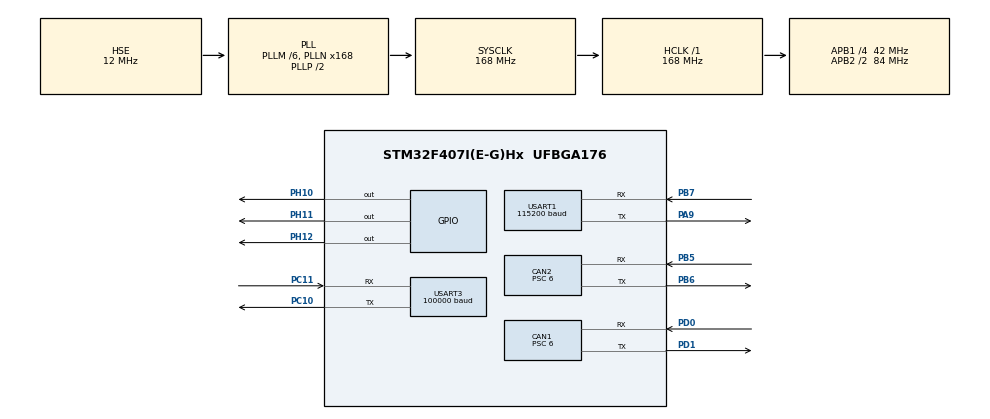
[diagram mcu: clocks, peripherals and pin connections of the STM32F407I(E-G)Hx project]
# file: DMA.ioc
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CAN1.ABOM=ENABLE
CAN1.BS1=CAN_BS1_3TQ
CAN1.BS2=CAN_BS2_3TQ
CAN1.CalculateBaudRate=1000000
CAN1.CalculateTimeBit=1000
CAN1.CalculateTimeQuantum=142.85714285714286
CAN1.Prescaler=6
CAN1.RFLM=ENABLE
CAN1.TXFP=DISABLE
CAN2.ABOM=ENABLE
CAN2.BS1=CAN_BS1_3TQ
CAN2.BS2=CAN_BS2_3TQ
CAN2.CalculateBaudRate=1000000
CAN2.CalculateTimeBit=1000
CAN2.CalculateTimeQuantum=142.85714285714286
CAN2.Prescaler=6
CAN2.RFLM=ENABLE
CAN2.TXFP=DISABLE
Dma.Request0=USART3_RX
Dma.Request1=USART1_RX
Dma.USART1_RX.1.Direction=DMA_PERIPH_TO_MEMORY
Dma.USART1_RX.1.FIFOMode=DMA_FIFOMODE_DISABLE
Dma.USART1_RX.1.Instance=DMA2_Stream2
Dma.USART1_RX.1.MemDataAlignment=DMA_MDATAALIGN_BYTE
Dma.USART1_RX.1.MemInc=DMA_MINC_ENABLE
Dma.USART1_RX.1.Mode=DMA_CIRCULAR
Dma.USART1_RX.1.PeriphDataAlignment=DMA_PDATAALIGN_BYTE
Dma.USART1_RX.1.PeriphInc=DMA_PINC_DISABLE
Dma.USART1_RX.1.Priority=DMA_PRIORITY_VERY_HIGH
Dma.USART3_RX.0.Direction=DMA_PERIPH_TO_MEMORY
Dma.USART3_RX.0.FIFOMode=DMA_FIFOMODE_DISABLE
Dma.USART3_RX.0.Instance=DMA1_Stream1
Dma.USART3_RX.0.MemDataAlignment=DMA_MDATAALIGN_BYTE
Dma.USART3_RX.0.MemInc=DMA_MINC_ENABLE
Dma.USART3_RX.0.Mode=DMA_CIRCULAR
Dma.USART3_RX.0.PeriphDataAlignment=DMA_PDATAALIGN_BYTE
Dma.USART3_RX.0.PeriphInc=DMA_PINC_DISABLE
Dma.USART3_RX.0.Priority=DMA_PRIORITY_HIGH
FREERTOS.Tasks01=LEDTask,24,128,StartDefaultTask,Default,NULL,Dynamic,NULL,NULL
Mcu.Family=STM32F4
Mcu.Name=STM32F407I(E-G)Hx
Mcu.Package=UFBGA176
NVIC.CAN1_RX0_IRQn=true\:5\:0\:false\:false\:true\:true\:true\:true\:true
NVIC.CAN2_RX0_IRQn=true\:5\:0\:false\:false\:true\:true\:true\:true\:true
NVIC.DMA1_Stream1_IRQn=true\:5\:0\:false\:false\:true\:true\:false\:true\:true
NVIC.DMA2_Stream2_IRQn=true\:5\:0\:false\:false\:true\:true\:false\:true\:true
NVIC.PriorityGroup=NVIC_PRIORITYGROUP_4
NVIC.TIM5_IRQn=true\:15\:0\:false\:false\:true\:false\:false\:true\:true
NVIC.TimeBase=TIM5_IRQn
NVIC.TimeBaseIP=TIM5
NVIC.USART1_IRQn=true\:5\:0\:false\:false\:true\:true\:true\:true\:true
NVIC.USART3_IRQn=true\:5\:0\:false\:false\:true\:true\:true\:true\:true
PA13.Mode=Serial_Wire
PA13.Signal=SYS_JTMS-SWDIO
PA14.Mode=Serial_Wire
PA14.Signal=SYS_JTCK-SWCLK
PA9.Mode=Asynchronous
PA9.Signal=USART1_TX
PB5.Mode=CAN_Activate
PB5.Signal=CAN2_RX
PB6.Mode=CAN_Activate
PB6.Signal=CAN2_TX
PB7.Mode=Asynchronous
PB7.Signal=USART1_RX
PC10.Mode=Asynchronous
PC10.Signal=USART3_TX
PC11.Mode=Asynchronous
PC11.Signal=USART3_RX
PD0.Mode=CAN_Activate
PD0.Signal=CAN1_RX
PD1.Mode=CAN_Activate
PD1.Signal=CAN1_TX
PH0-OSC_IN.Mode=HSE-External-Oscillator
PH0-OSC_IN.Signal=RCC_OSC_IN
PH1-OSC_OUT.Mode=HSE-External-Oscillator
PH1-OSC_OUT.Signal=RCC_OSC_OUT
PH10.Signal=GPIO_Output
PH11.Signal=GPIO_Output
PH12.Signal=GPIO_Output
ProjectManager.HeapSize=0x200
ProjectManager.StackSize=0x400
ProjectManager.TargetToolchain=MDK-ARM V5
RCC.48MHZClocksFreq_Value=84000000
RCC.AHBFreq_Value=168000000
RCC.APB1CLKDivider=RCC_HCLK_DIV4
RCC.APB1Freq_Value=42000000
RCC.APB1TimFreq_Value=84000000
RCC.APB2CLKDivider=RCC_HCLK_DIV2
RCC.APB2Freq_Value=84000000
RCC.APB2TimFreq_Value=168000000
RCC.CortexFreq_Value=168000000
RCC.HCLKFreq_Value=168000000
RCC.HSE_VALUE=12000000
RCC.HSI_VALUE=16000000
RCC.LSE_VALUE=32768
RCC.PLLM=6
RCC.PLLN=168
RCC.PLLSourceVirtual=RCC_PLLSOURCE_HSE
RCC.SYSCLKFreq_VALUE=168000000
RCC.SYSCLKSource=RCC_SYSCLKSOURCE_PLLCLK
RCC.VCOOutputFreq_Value=336000000
USART1.BaudRate=115200
USART1.VirtualMode=VM_ASYNC
USART3.BaudRate=100000
USART3.Parity=PARITY_EVEN
USART3.VirtualMode=VM_ASYNC
USART3.WordLength=WORDLENGTH_9B
VP_FREERTOS_VS_CMSIS_V2.Mode=CMSIS_V2
VP_SYS_VS_tim5.Mode=TIM5
board=custom

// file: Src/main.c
/* USER CODE BEGIN Header */
/**
  ******************************************************************************
  * @file           : main.c
  * @brief          : Main program body
  ******************************************************************************
  * @attention
  *
  * Copyright (c) 2023 STMicroelectronics.
  * All rights reserved.
  *
  * This software is licensed under terms that can be found in the LICENSE file
  * in the root directory of this software component.
  * If no LICENSE file comes with this software, it is provided AS-IS.
  *
  ******************************************************************************
  */
/* USER CODE END Header */
#include "main.h"
#include "cmsis_os.h"
#include "can.h"
#include "dma.h"
#include "usart.h"
#include "gpio.h"

/* USER CODE BEGIN Includes */
 #include "chong_can.h"
/* USER CODE END Includes */

void SystemClock_Config(void);
void MX_FREERTOS_Init(void);

int main(void)
{

  /* MCU Configuration--------------------------------------------------------*/

  /* Reset of all peripherals, Initializes the Flash interface and the Systick. */
    HAL_Init();

  /* Configure the system clock */
  SystemClock_Config();

  /* Initialize all configured peripherals */
  MX_GPIO_Init();
  MX_DMA_Init();
  MX_USART3_UART_Init();
  MX_CAN1_Init();
  MX_USART1_UART_Init();
  MX_CAN2_Init();
  /* USER CODE BEGIN 2 */
	Can_Init();

  /* USER CODE END 2 */

  /* Init scheduler */
  osKernelInitialize();  /* Call init function for freertos objects (in freertos.c) */
  MX_FREERTOS_Init();

  /* Start scheduler */
  osKernelStart();

  /* We should never get here as control is now taken by the scheduler */
  /* Infinite loop */
  while (1)
  {

  }
}

void SystemClock_Config(void)
{
  RCC_OscInitTypeDef RCC_OscInitStruct = {0};
  RCC_ClkInitTypeDef RCC_ClkInitStruct = {0};

  /** Configure the main internal regulator output voltage
  */
  __HAL_RCC_PWR_CLK_ENABLE();
  __HAL_PWR_VOLTAGESCALING_CONFIG(PWR_REGULATOR_VOLTAGE_SCALE1);

  /** Initializes the RCC Oscillators according to the specified parameters
  * in the RCC_OscInitTypeDef structure.
  */
  RCC_OscInitStruct.OscillatorType = RCC_OSCILLATORTYPE_HSE;
  RCC_OscInitStruct.HSEState = RCC_HSE_ON;
  RCC_OscInitStruct.PLL.PLLState = RCC_PLL_ON;
  RCC_OscInitStruct.PLL.PLLSource = RCC_PLLSOURCE_HSE;
  RCC_OscInitStruct.PLL.PLLM = 6;
  RCC_OscInitStruct.PLL.PLLN = 168;
  RCC_OscInitStruct.PLL.PLLP = RCC_PLLP_DIV2;
  RCC_OscInitStruct.PLL.PLLQ = 4;
  if (HAL_RCC_OscConfig(&RCC_OscInitStruct) != HAL_OK)
  {
    Error_Handler();
  }

  /** Initializes the CPU, AHB and APB buses clocks
  */
  RCC_ClkInitStruct.ClockType = RCC_CLOCKTYPE_HCLK|RCC_CLOCKTYPE_SYSCLK
                              |RCC_CLOCKTYPE_PCLK1|RCC_CLOCKTYPE_PCLK2;
  RCC_ClkInitStruct.SYSCLKSource = RCC_SYSCLKSOURCE_PLLCLK;
  RCC_ClkInitStruct.AHBCLKDivider = RCC_SYSCLK_DIV1;
  RCC_ClkInitStruct.APB1CLKDivider = RCC_HCLK_DIV4;
  RCC_ClkInitStruct.APB2CLKDivider = RCC_HCLK_DIV2;

  if (HAL_RCC_ClockConfig(&RCC_ClkInitStruct, FLASH_LATENCY_5) != HAL_OK)
  {
    Error_Handler();
  }
}

void HAL_TIM_PeriodElapsedCallback(TIM_HandleTypeDef *htim)
{
  if (htim->Instance == TIM5) {
    HAL_IncTick();
  }
}

void Error_Handler(void)
{
  __disable_irq();
  while (1)
  {
  }
}

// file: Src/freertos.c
/* USER CODE BEGIN Header */
/**
  ******************************************************************************
  * File Name          : freertos.c
  * Description        : Code for freertos applications
  ******************************************************************************
  * @attention
  *
  * Copyright (c) 2023 STMicroelectronics.
  * All rights reserved.
  *
  * This software is licensed under terms that can be found in the LICENSE file
  * in the root directory of this software component.
  * If no LICENSE file comes with this software, it is provided AS-IS.
  *
  ******************************************************************************
  */
/* USER CODE END Header */

#include "FreeRTOS.h"
#include "task.h"
#include "main.h"
#include "cmsis_os.h"

/* USER CODE BEGIN Includes */
#include "RC_control.h"
#include "RC_task.h"
#include "chaiess.h"
#include "chong_can.h"
#include "driver_uart.h"
#include "yaw_task.h"
#include "jy901.h"
#include "jy901_read_task.h"
#include "Arm.h"
/* USER CODE END Includes */

/* Definitions for LEDTask */
osThreadId_t LEDTaskHandle;
const osThreadAttr_t LEDTask_attributes = {
  .name = "LEDTask",
  .stack_size = 128 * 4,
  .priority = (osPriority_t) osPriorityNormal,
};

void StartDefaultTask(void *argument);

void MX_FREERTOS_Init(void); /* (MISRA C 2004 rule 8.1) */

void MX_FREERTOS_Init(void) {
  /* USER CODE BEGIN Init */
	RC_Init();
	QueueCreat_Init();
	jy901_QueueCreat_Init();
	User_JY901_Init();
  /* USER CODE END Init */

  /* Create the thread(s) */
  /* creation of LEDTask */
  LEDTaskHandle = osThreadNew(StartDefaultTask, NULL, &LEDTask_attributes);

  /* USER CODE BEGIN RTOS_THREADS */
  /* add threads, ... */
	xTaskCreate(control_Test , "RC_Task", 256, NULL, osPriorityNormal, NULL);
	xTaskCreate(chaiess_task , "chaiess_Task", 512, NULL, osPriorityNormal, NULL);
	xTaskCreate(yaw_task , "yaw_task", 128, NULL, osPriorityNormal, NULL);
	xTaskCreate(jy901_read_Test , "jy901_read_Tast", 128, NULL, osPriorityNormal, NULL);
	xTaskCreate(Arm_task , "Arm_Tast", 256, NULL, osPriorityNormal, NULL);

  /* USER CODE END RTOS_THREADS */

}

void StartDefaultTask(void *argument)
{
  /* USER CODE BEGIN StartDefaultTask */
  /* Infinite loop */
  for(;;)
  {
				HAL_GPIO_WritePin(GPIOH,GPIO_PIN_11, GPIO_PIN_SET);
				vTaskDelay(500);
				HAL_GPIO_WritePin(GPIOH,GPIO_PIN_11, GPIO_PIN_RESET);
				vTaskDelay(500);
  }
  /* USER CODE END StartDefaultTask */
}
